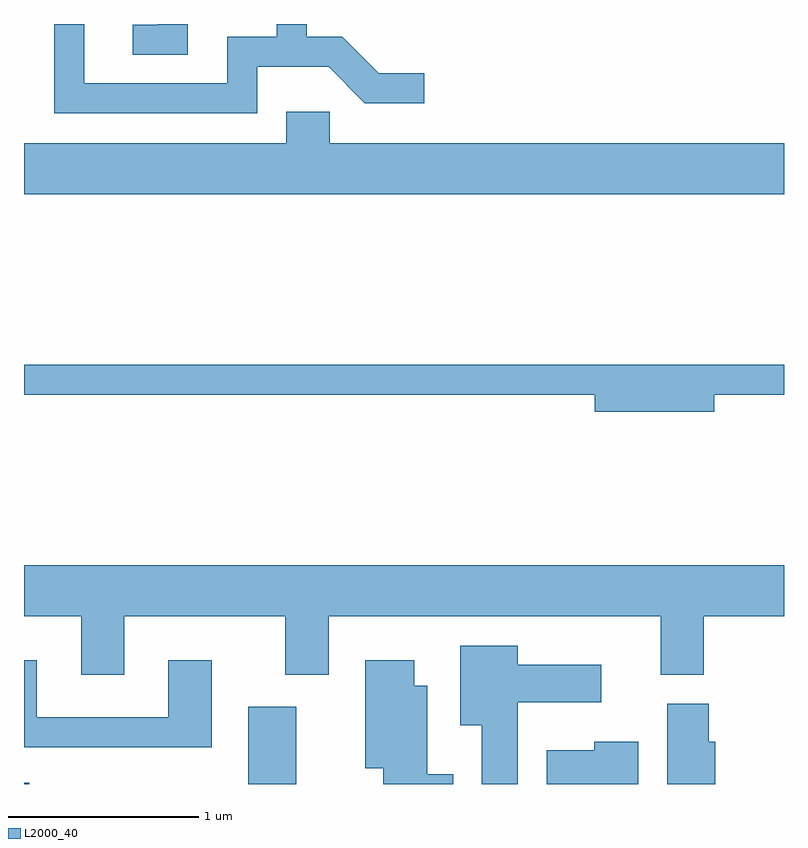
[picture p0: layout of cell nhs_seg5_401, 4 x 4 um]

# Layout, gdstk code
import gdstk
lib = gdstk.Library(unit=1e-6, precision=1e-09)
def R(c, l, rs):  # rectangles x0, y0, x1, y1
    for r in rs: c.add(gdstk.rectangle(r[:2], r[2:], *l))
def P(c, l, *ps):  # polygons
    for p in ps: c.add(gdstk.Polygon(p, *l))
L2000_40 = (2000, 40)

nhs_seg5_401 = lib.new_cell('nhs_seg5_401')
R(nhs_seg5_401, L2000_40, [(195.611,1518.072,195.639,1518.079), (196.791,1518.072,197.044,1518.479)])
P(nhs_seg5_401, L2000_40, [(196.839,1521.846),(197.214,1521.846),(197.404,1521.656),(197.718,1521.656),(197.718,1521.814),(197.477,1521.814),(197.287,1522.004),(197.099,1522.004),(197.099,1522.072),(196.941,1522.072),(196.941,1522.004),(196.681,1522.004),(196.681,1521.759),(195.929,1521.759),(195.929,1522.072),(195.771,1522.072),(195.771,1521.601),(196.839,1521.601)],
  [(196.474,1522.072),(196.316,1522.072),(196.316,1522.069),(196.183,1522.069),(196.183,1521.911),(196.474,1521.911)],
  [(199.611,1521.444),(197.219,1521.444),(197.219,1521.609),(196.991,1521.609),(196.991,1521.444),(195.611,1521.444),(195.611,1521.176),(199.611,1521.176)],
  [(199.244,1520.121),(199.611,1520.121),(199.611,1520.279),(195.611,1520.279),(195.611,1520.121),(198.616,1520.121),(198.616,1520.031),(199.244,1520.031)],
  [(196.139,1518.956),(196.986,1518.956),(196.986,1518.646),(197.214,1518.646),(197.214,1518.956),(198.961,1518.956),(198.961,1518.646),(199.189,1518.646),(199.189,1518.956),(199.611,1518.956),(199.611,1519.224),(195.611,1519.224),(195.611,1518.956),(195.911,1518.956),(195.911,1518.646),(196.139,1518.646)],
  [(198.209,1518.501),(198.649,1518.501),(198.649,1518.699),(198.209,1518.699),(198.209,1518.799),(197.906,1518.799),(197.906,1518.381),(198.021,1518.381),(198.021,1518.072),(198.209,1518.072)],
  [(196.599,1518.724),(196.371,1518.724),(196.371,1518.424),(195.679,1518.424),(195.679,1518.724),(195.611,1518.724),(195.611,1518.266),(196.599,1518.266)],
  [(197.869,1518.124),(197.734,1518.124),(197.734,1518.589),(197.664,1518.589),(197.664,1518.724),(197.406,1518.724),(197.406,1518.156),(197.501,1518.156),(197.501,1518.072),(197.869,1518.072)],
  [(199.249,1518.294),(199.214,1518.294),(199.214,1518.494),(198.996,1518.494),(198.996,1518.072),(199.249,1518.072)],
  [(198.844,1518.294),(198.611,1518.294),(198.611,1518.249),(198.361,1518.249),(198.361,1518.072),(198.844,1518.072)])

lib.write_gds('nhs_seg5_401.gds')
